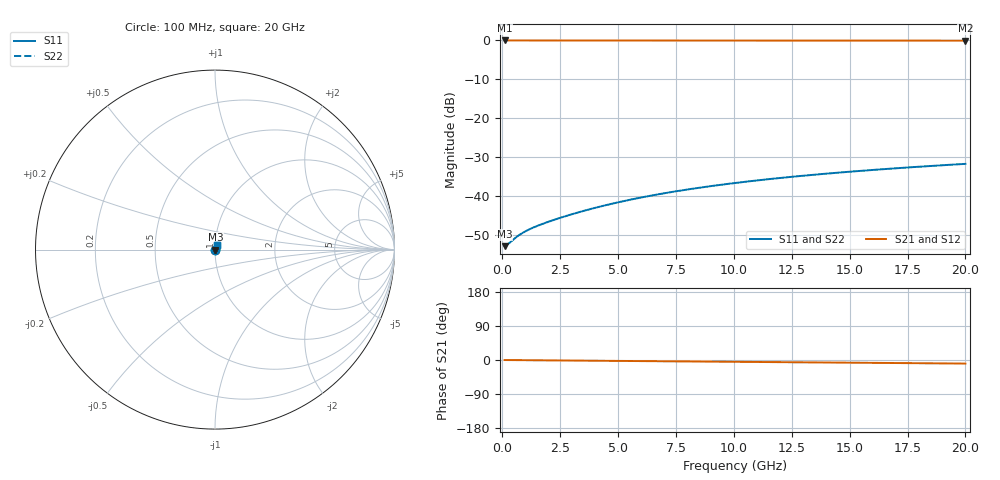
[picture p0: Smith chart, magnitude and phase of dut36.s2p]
! Touchstone file exported from HFSS 2026.1.0
!  File:  C:/ffzhzh/LocalFiles/Ansys_Project_Files/temp_train_BSMRDL_36_1782882279_42304.aedt
!  Generated:  01:05:45 PM Jul  1, 2026
!  Design:  BSMRDL
!  Project:  temp_train_BSMRDL_36_1782882279_42304
! Variables:
!  h_bsmrdl = 2.69um
!  h_ox = 20um
!  h_rdl = 5um
!  h_sub = 80um
!  h_tmrdl = 5um
!  h_tsv = 80um
!  h_via = 3um
!  l_bsmrdl = 163.51um
!  l_sub = 563.51um
!  l_tmrdl = 200um
!  m_sub = 200um
!  pitch = 13.76um
!  r_tsv = 6um
!  s_tmrdl = 10um
!  w_bsmrdl = 10.53um
!  w_sub = 500um
!  w_tmrdl = 12um
!  x_tsv_center1 = 206um
!  x_tsv_center2 = 380.04um
!  x_tsv_center3 = 592.04um
!  x_tsv_center4 = 766.08um
!  x_tsv_center5 = 978.08um
!  x_tsv_center6 = 1152.12um
# GHz S MA R 50.000000
! Terminal data exported
! Port[1] = BSM_RDL1_1_T1
! Port[2] = BSM_RDL1_1_T2
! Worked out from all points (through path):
!   200 points, 100 MHz to 20 GHz, reference 50 ohm
!   highest |S21| = -0.02 dB at 100 MHz (marker M1); lowest = -0.1 dB at 20 GHz (marker M2)
!   group delay of S21, straight-line fit = 1.3 ps
!   lowest |S11| = -52.9 dB at 100 MHz (marker M3), VSWR 1.00, Z = 50.2 + j0.0272 ohm
!   |S11| at or under -10 dB: start of sweep to end of sweep
!   |S22| runs from -52.9 to -31.7 dB; largest |S21 - S12| = 1e-15
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0.1  0.002269 6.9  0.9977 -0.1  0.9977 -0.1  0.002269 6.9
! Gamma 0 0 0 0
! Port Impedance 50 0 50 0
0.2  0.002357 13.1  0.9977 -0.1  0.9977 -0.1  0.002357 13.1
0.6  0.002955 27.9  0.9974 -0.3  0.9974 -0.3  0.002955 27.9
0.8  0.003254 31.6  0.9972 -0.4  0.9972 -0.4  0.003254 31.6
1  0.003524 34.4  0.9971 -0.5  0.9971 -0.5  0.003524 34.4
1.3  0.00389 37.9  0.997 -0.7  0.997 -0.7  0.00389 37.9
1.7  0.004345 41.9  0.9968 -0.8  0.9968 -0.8  0.004345 41.9
2.2  0.004905 46.2  0.9967 -1.1  0.9967 -1.1  0.004906 46.2
2.8  0.005595 50.5  0.9965 -1.4  0.9965 -1.4  0.005596 50.4
3.5  0.00643 54.3  0.9964 -1.7  0.9964 -1.7  0.006431 54.3
4.3  0.007418 57.5  0.9962 -2.1  0.9962 -2.1  0.007419 57.5
5.1  0.00843 59.8  0.9961 -2.5  0.9961 -2.5  0.008431 59.8
5.9  0.009453 61.5  0.9959 -2.8  0.9959 -2.8  0.009455 61.5
6.8  0.01061 62.8  0.9956 -3.3  0.9956 -3.3  0.01061 62.8
7.6  0.01163 63.6  0.9954 -3.6  0.9954 -3.6  0.01163 63.5
8.4  0.01265 64.1  0.9952 -4.0  0.9952 -4.0  0.01265 64.1
10.1  0.01477 64.6  0.9947 -4.8  0.9947 -4.8  0.01478 64.6
11.7  0.01671 64.7  0.9942 -5.6  0.9942 -5.6  0.01672 64.6
13.4  0.01871 64.5  0.9937 -6.4  0.9937 -6.4  0.01872 64.4
15  0.02053 64.2  0.9932 -7.1  0.9932 -7.1  0.02054 64.1
16.7  0.02241 63.7  0.9927 -7.9  0.9927 -7.9  0.02242 63.6
20  0.0259 62.7  0.9917 -9.4  0.9917 -9.4  0.02592 62.6
